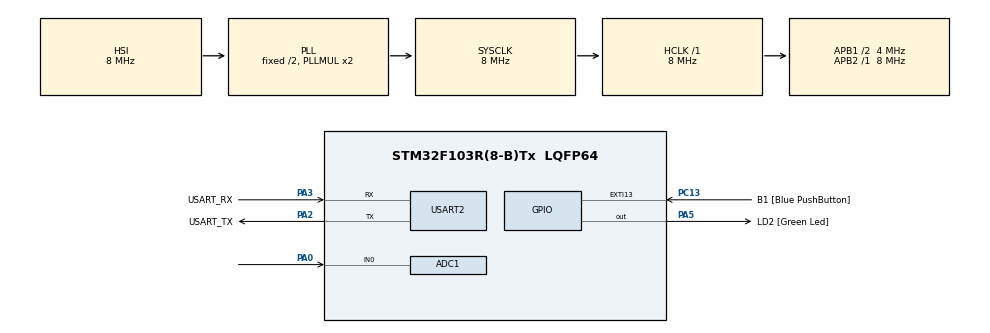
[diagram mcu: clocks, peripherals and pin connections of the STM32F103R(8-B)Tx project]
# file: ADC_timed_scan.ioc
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ADC1.Channel-0\#ChannelRegularConversion=ADC_CHANNEL_0
ADC1.Channel-1\#ChannelRegularConversion=ADC_CHANNEL_TEMPSENSOR
ADC1.ExternalTrigConv=ADC_EXTERNALTRIGCONV_T3_TRGO
ADC1.NbrOfConversion=2
ADC1.NbrOfConversionFlag=1
ADC1.Rank-0\#ChannelRegularConversion=1
ADC1.Rank-1\#ChannelRegularConversion=2
ADC1.SamplingTime-0\#ChannelRegularConversion=ADC_SAMPLETIME_28CYCLES_5
ADC1.SamplingTime-1\#ChannelRegularConversion=ADC_SAMPLETIME_28CYCLES_5
ADC1.master=1
Dma.ADC1.0.Direction=DMA_PERIPH_TO_MEMORY
Dma.ADC1.0.Instance=DMA1_Channel1
Dma.ADC1.0.MemDataAlignment=DMA_MDATAALIGN_HALFWORD
Dma.ADC1.0.MemInc=DMA_MINC_ENABLE
Dma.ADC1.0.Mode=DMA_CIRCULAR
Dma.ADC1.0.PeriphDataAlignment=DMA_PDATAALIGN_HALFWORD
Dma.ADC1.0.PeriphInc=DMA_PINC_DISABLE
Dma.ADC1.0.Priority=DMA_PRIORITY_LOW
Dma.Request0=ADC1
Mcu.Family=STM32F1
Mcu.Name=STM32F103R(8-B)Tx
Mcu.Package=LQFP64
NVIC.ADC1_2_IRQn=true\:0\:0\:false\:false\:true\:true\:true\:true
NVIC.DMA1_Channel1_IRQn=true\:0\:0\:false\:false\:true\:false\:true\:true
NVIC.EXTI15_10_IRQn=true\:0\:0\:false\:false\:true\:true\:true\:true
NVIC.PriorityGroup=NVIC_PRIORITYGROUP_4
PA0-WKUP.Signal=ADCx_IN0
PA13.GPIO_Label=TMS
PA13.Mode=Serial_Wire
PA13.Signal=SYS_JTMS-SWDIO
PA14.GPIO_Label=TCK
PA14.Mode=Serial_Wire
PA14.Signal=SYS_JTCK-SWCLK
PA2.GPIO_Label=USART_TX
PA2.GPIO_Mode=GPIO_MODE_AF_PP
PA2.GPIO_PuPd=GPIO_NOPULL
PA2.GPIO_Speed=GPIO_SPEED_FREQ_LOW
PA2.Mode=Asynchronous
PA2.Signal=USART2_TX
PA3.GPIO_Label=USART_RX
PA3.GPIO_Mode=GPIO_MODE_AF_PP
PA3.GPIO_PuPd=GPIO_NOPULL
PA3.GPIO_Speed=GPIO_SPEED_FREQ_LOW
PA3.Mode=Asynchronous
PA3.Signal=USART2_RX
PA5.GPIO_Label=LD2 [Green Led]
PA5.GPIO_ModeDefaultOutputPP=GPIO_MODE_OUTPUT_PP
PA5.GPIO_PuPd=GPIO_NOPULL
PA5.GPIO_Speed=GPIO_SPEED_FREQ_LOW
PA5.Signal=GPIO_Output
PB3.GPIO_Label=SWO
PB3.Signal=SYS_JTDO-TRACESWO
PC13-TAMPER-RTC.GPIO_Label=B1 [Blue PushButton]
PC13-TAMPER-RTC.GPIO_PuPd=GPIO_NOPULL
PC13-TAMPER-RTC.Signal=GPXTI13
PC14-OSC32_IN.Mode=LSE-External-Oscillator
PC14-OSC32_IN.Signal=RCC_OSC32_IN
PC15-OSC32_OUT.Mode=LSE-External-Oscillator
PC15-OSC32_OUT.Signal=RCC_OSC32_OUT
PD0-OSC_IN.Mode=HSE-External-Clock-Source
PD0-OSC_IN.Signal=RCC_OSC_IN
PD1-OSC_OUT.Mode=HSE-External-Clock-Source
PD1-OSC_OUT.Signal=RCC_OSC_OUT
ProjectManager.HeapSize=0x200
ProjectManager.StackSize=0x400
ProjectManager.TargetToolchain=STM32CubeIDE
RCC.AHBFreq_Value=8000000
RCC.APB1CLKDivider=RCC_HCLK_DIV2
RCC.APB1Freq_Value=4000000
RCC.APB1TimFreq_Value=8000000
RCC.APB2Freq_Value=8000000
RCC.APB2TimFreq_Value=8000000
RCC.HCLKFreq_Value=8000000
RCC.RTCClockSelection=RCC_RTCCLKSOURCE_LSE
RCC.SYSCLKFreq_VALUE=8000000
RCC.SYSCLKSource=RCC_SYSCLKSOURCE_PLLCLK
RCC.USBFreq_Value=8000000
SH.ADCx_IN0.0=ADC1_IN0,IN0
TIM3.Period=999
TIM3.Prescaler=7999
TIM3.TIM_MasterOutputTrigger=TIM_TRGO_UPDATE
USART2.VirtualMode=VM_ASYNC
VP_ADC1_TempSens_Input.Mode=IN-TempSens
VP_TIM3_VS_ClockSourceINT.Mode=Internal
board=NUCLEO-F103RB

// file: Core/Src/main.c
/* USER CODE BEGIN Header */
/**
  ******************************************************************************
  * @file           : main.c
  * @brief          : Main program body
  ******************************************************************************
  * @attention
  *
  * Copyright (c) 2024 STMicroelectronics.
  * All rights reserved.
  *
  * This software is licensed under terms that can be found in the LICENSE file
  * in the root directory of this software component.
  * If no LICENSE file comes with this software, it is provided AS-IS.
  *
  ******************************************************************************
  */
/* USER CODE END Header */
#include "main.h"

/* USER CODE BEGIN PD */
#define ADC_BUFFER_SIZE 2
/* USER CODE END PD */

ADC_HandleTypeDef hadc1;
DMA_HandleTypeDef hdma_adc1;

TIM_HandleTypeDef htim3;

UART_HandleTypeDef huart2;

/* USER CODE BEGIN PV */
uint8_t flag = 0;
uint16_t adcBuffer[ADC_BUFFER_SIZE];
/* USER CODE END PV */

void SystemClock_Config(void);
static void MX_GPIO_Init(void);
static void MX_DMA_Init(void);
static void MX_USART2_UART_Init(void);
static void MX_ADC1_Init(void);
static void MX_TIM3_Init(void);

int main(void)
{

  /* MCU Configuration--------------------------------------------------------*/

  /* Reset of all peripherals, Initializes the Flash interface and the Systick. */
  HAL_Init();

  /* Configure the system clock */
  SystemClock_Config();

  /* Initialize all configured peripherals */
  MX_GPIO_Init();
  MX_DMA_Init();
  MX_USART2_UART_Init();
  MX_ADC1_Init();
  MX_TIM3_Init();
  /* USER CODE BEGIN 2 */

  char text[50] = {'\0'};

  HAL_ADC_Start_DMA(&hadc1, adcBuffer, ADC_BUFFER_SIZE); // it will stop conversions when buffer is full. Needs to restart DMA again
  HAL_TIM_Base_Start(&htim3); // start timer to trigger 1 ADC conversion every second -> if buffer = 8 then it'll print every 8 seconds.

  /* USER CODE END 2 */

  /* Infinite loop */
  /* USER CODE BEGIN WHILE */
  uint8_t count = 0;
  uint8_t timerStopped = 0;
  while (1)
  {

	  if(flag == 1){ // the flag is set once the ADC buffer is full,
		  flag = 0;

		  for(uint8_t i = 0; i < ADC_BUFFER_SIZE/2; i=i+2){
			  sprintf(text, ">> IN0= %i | Temp= %i\r\n", adcBuffer[i],adcBuffer[i+1]);
			  HAL_UART_Transmit(&huart2, text, sizeof(text), 100);
		  }

		  if(timerStopped == 0){
			  count++;
			  if (count == 4 ){
				  HAL_TIM_Base_Stop(&htim3); // no more ADC triggered by TIM3
				  HAL_ADC_Stop_DMA(&hadc1);
				  timerStopped = 1;
				  // change ADC to trigger by software
				  hadc1.Init.ExternalTrigConv = ADC_SOFTWARE_START;
				  if (HAL_ADC_Init(&hadc1) != HAL_OK)
				  {
				    Error_Handler();
				  }

				  uint8_t stopAlert[]= "Timer 3 stopped!\r\n";
				  HAL_UART_Transmit(&huart2, stopAlert, sizeof(stopAlert), 100);
			  }
		  } else { // timerStopped == 1
			  HAL_Delay(500);
			  HAL_ADC_Start_DMA(&hadc1, adcBuffer, ADC_BUFFER_SIZE);
		  }

	  }

	  //HAL_Delay(10);
    /* USER CODE END WHILE */

  }
}

void SystemClock_Config(void)
{
  RCC_OscInitTypeDef RCC_OscInitStruct = {0};
  RCC_ClkInitTypeDef RCC_ClkInitStruct = {0};
  RCC_PeriphCLKInitTypeDef PeriphClkInit = {0};

  /** Initializes the RCC Oscillators according to the specified parameters
  * in the RCC_OscInitTypeDef structure.
  */
  RCC_OscInitStruct.OscillatorType = RCC_OSCILLATORTYPE_HSI;
  RCC_OscInitStruct.HSIState = RCC_HSI_ON;
  RCC_OscInitStruct.HSICalibrationValue = RCC_HSICALIBRATION_DEFAULT;
  RCC_OscInitStruct.PLL.PLLState = RCC_PLL_ON;
  RCC_OscInitStruct.PLL.PLLSource = RCC_PLLSOURCE_HSI_DIV2;
  RCC_OscInitStruct.PLL.PLLMUL = RCC_PLL_MUL2;
  if (HAL_RCC_OscConfig(&RCC_OscInitStruct) != HAL_OK)
  {
    Error_Handler();
  }

  /** Initializes the CPU, AHB and APB buses clocks
  */
  RCC_ClkInitStruct.ClockType = RCC_CLOCKTYPE_HCLK|RCC_CLOCKTYPE_SYSCLK
                              |RCC_CLOCKTYPE_PCLK1|RCC_CLOCKTYPE_PCLK2;
  RCC_ClkInitStruct.SYSCLKSource = RCC_SYSCLKSOURCE_PLLCLK;
  RCC_ClkInitStruct.AHBCLKDivider = RCC_SYSCLK_DIV1;
  RCC_ClkInitStruct.APB1CLKDivider = RCC_HCLK_DIV2;
  RCC_ClkInitStruct.APB2CLKDivider = RCC_HCLK_DIV1;

  if (HAL_RCC_ClockConfig(&RCC_ClkInitStruct, FLASH_LATENCY_0) != HAL_OK)
  {
    Error_Handler();
  }
  PeriphClkInit.PeriphClockSelection = RCC_PERIPHCLK_ADC;
  PeriphClkInit.AdcClockSelection = RCC_ADCPCLK2_DIV2;
  if (HAL_RCCEx_PeriphCLKConfig(&PeriphClkInit) != HAL_OK)
  {
    Error_Handler();
  }
}

static void MX_ADC1_Init(void)
{

  ADC_ChannelConfTypeDef sConfig = {0};

  /** Common config
  */
  hadc1.Instance = ADC1;
  hadc1.Init.ScanConvMode = ADC_SCAN_ENABLE;
  hadc1.Init.ContinuousConvMode = DISABLE;
  hadc1.Init.DiscontinuousConvMode = DISABLE;
  hadc1.Init.ExternalTrigConv = ADC_EXTERNALTRIGCONV_T3_TRGO;
  hadc1.Init.DataAlign = ADC_DATAALIGN_RIGHT;
  hadc1.Init.NbrOfConversion = 2;
  if (HAL_ADC_Init(&hadc1) != HAL_OK)
  {
    Error_Handler();
  }

  /** Configure Regular Channel
  */
  sConfig.Channel = ADC_CHANNEL_0;
  sConfig.Rank = ADC_REGULAR_RANK_1;
  sConfig.SamplingTime = ADC_SAMPLETIME_28CYCLES_5;
  if (HAL_ADC_ConfigChannel(&hadc1, &sConfig) != HAL_OK)
  {
    Error_Handler();
  }

  /** Configure Regular Channel
  */
  sConfig.Channel = ADC_CHANNEL_TEMPSENSOR;
  sConfig.Rank = ADC_REGULAR_RANK_2;
  if (HAL_ADC_ConfigChannel(&hadc1, &sConfig) != HAL_OK)
  {
    Error_Handler();
  }

}

static void MX_TIM3_Init(void)
{

  TIM_ClockConfigTypeDef sClockSourceConfig = {0};
  TIM_MasterConfigTypeDef sMasterConfig = {0};

  htim3.Instance = TIM3;
  htim3.Init.Prescaler = 7999;
  htim3.Init.CounterMode = TIM_COUNTERMODE_UP;
  htim3.Init.Period = 999;
  htim3.Init.ClockDivision = TIM_CLOCKDIVISION_DIV1;
  htim3.Init.AutoReloadPreload = TIM_AUTORELOAD_PRELOAD_DISABLE;
  if (HAL_TIM_Base_Init(&htim3) != HAL_OK)
  {
    Error_Handler();
  }
  sClockSourceConfig.ClockSource = TIM_CLOCKSOURCE_INTERNAL;
  if (HAL_TIM_ConfigClockSource(&htim3, &sClockSourceConfig) != HAL_OK)
  {
    Error_Handler();
  }
  sMasterConfig.MasterOutputTrigger = TIM_TRGO_UPDATE;
  sMasterConfig.MasterSlaveMode = TIM_MASTERSLAVEMODE_DISABLE;
  if (HAL_TIMEx_MasterConfigSynchronization(&htim3, &sMasterConfig) != HAL_OK)
  {
    Error_Handler();
  }

}

static void MX_USART2_UART_Init(void)
{

  huart2.Instance = USART2;
  huart2.Init.BaudRate = 115200;
  huart2.Init.WordLength = UART_WORDLENGTH_8B;
  huart2.Init.StopBits = UART_STOPBITS_1;
  huart2.Init.Parity = UART_PARITY_NONE;
  huart2.Init.Mode = UART_MODE_TX_RX;
  huart2.Init.HwFlowCtl = UART_HWCONTROL_NONE;
  huart2.Init.OverSampling = UART_OVERSAMPLING_16;
  if (HAL_UART_Init(&huart2) != HAL_OK)
  {
    Error_Handler();
  }

}

static void MX_DMA_Init(void)
{

  /* DMA controller clock enable */
  __HAL_RCC_DMA1_CLK_ENABLE();

  /* DMA interrupt init */
  /* DMA1_Channel1_IRQn interrupt configuration */
  HAL_NVIC_SetPriority(DMA1_Channel1_IRQn, 0, 0);
  HAL_NVIC_EnableIRQ(DMA1_Channel1_IRQn);

}

static void MX_GPIO_Init(void)
{
  GPIO_InitTypeDef GPIO_InitStruct = {0};

  /* GPIO Ports Clock Enable */
  __HAL_RCC_GPIOC_CLK_ENABLE();
  __HAL_RCC_GPIOD_CLK_ENABLE();
  __HAL_RCC_GPIOA_CLK_ENABLE();
  __HAL_RCC_GPIOB_CLK_ENABLE();

  /*Configure GPIO pin Output Level */
  HAL_GPIO_WritePin(LD2_GPIO_Port, LD2_Pin, GPIO_PIN_RESET);

  /*Configure GPIO pin : B1_Pin */
  GPIO_InitStruct.Pin = B1_Pin;
  GPIO_InitStruct.Mode = GPIO_MODE_IT_RISING;
  GPIO_InitStruct.Pull = GPIO_NOPULL;
  HAL_GPIO_Init(B1_GPIO_Port, &GPIO_InitStruct);

  /*Configure GPIO pin : LD2_Pin */
  GPIO_InitStruct.Pin = LD2_Pin;
  GPIO_InitStruct.Mode = GPIO_MODE_OUTPUT_PP;
  GPIO_InitStruct.Pull = GPIO_NOPULL;
  GPIO_InitStruct.Speed = GPIO_SPEED_FREQ_LOW;
  HAL_GPIO_Init(LD2_GPIO_Port, &GPIO_InitStruct);

  /* EXTI interrupt init*/
  HAL_NVIC_SetPriority(EXTI15_10_IRQn, 0, 0);
  HAL_NVIC_EnableIRQ(EXTI15_10_IRQn);

}

/* USER CODE BEGIN 4 */
void HAL_ADC_ConvCpltCallback(ADC_HandleTypeDef* hadc){

	flag = 1;
}

void HAL_ADC_ConvHalfCpltCallback(ADC_HandleTypeDef* hadc){
	uint8_t a;
}

/* USER CODE END 4 */

void Error_Handler(void)
{
  __disable_irq();
  while (1)
  {
  }
}
